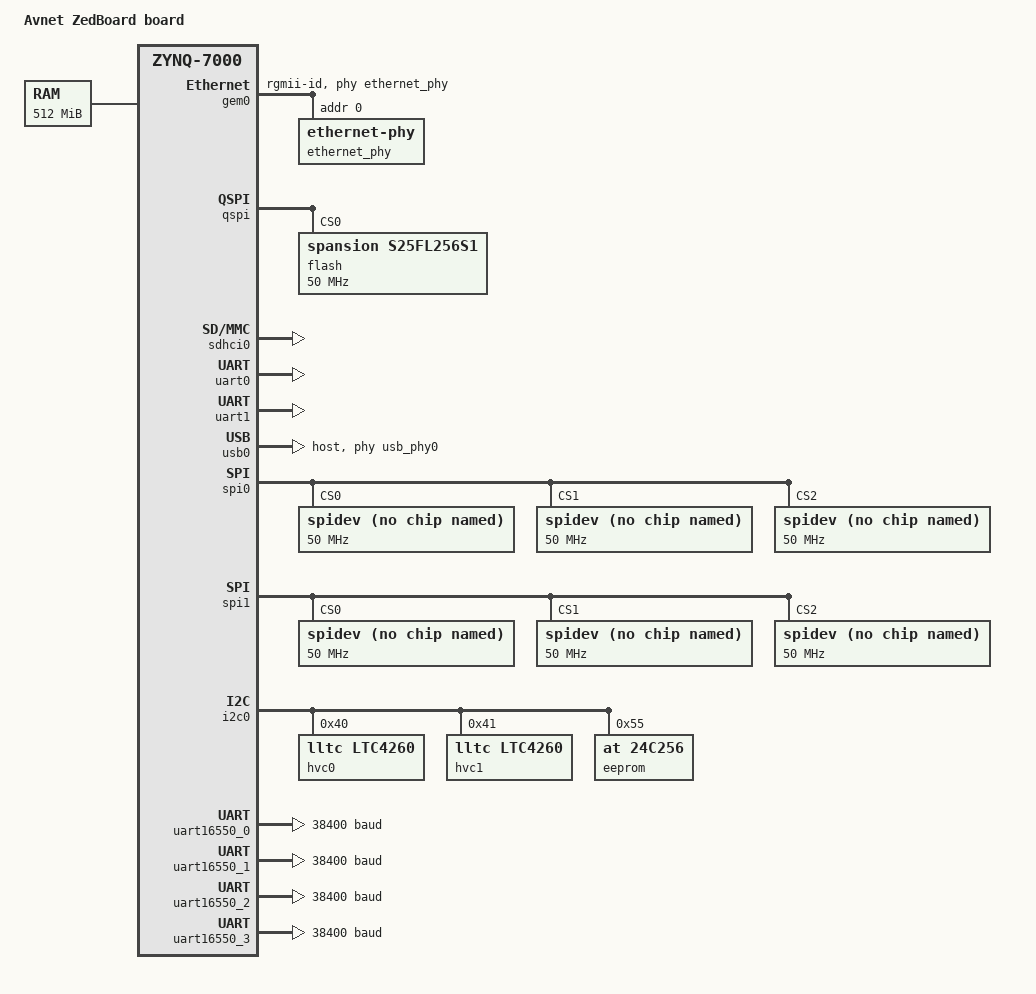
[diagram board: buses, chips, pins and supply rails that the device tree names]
// SPDX-License-Identifier: GPL-2.0+
/*
 *  Copyright (C) 2011 - 2015 Xilinx
 *  Copyright (C) 2012 National Instruments Corp.
 */
/dts-v1/;
#include "zynq-7000.dtsi"

/ {
	model = "Avnet ZedBoard board";
	compatible = "avnet,zynq-zed", "xlnx,zynq-zed", "xlnx,zynq-7000";

	aliases {
		ethernet0 = &gem0;
		i2c0 = &i2c0;
		serial0 = &uart1;
		spi0 = &spi0;
		spi1 = &spi1;
		spi2 = &qspi;
		mmc0 = &sdhci0;
	};

	memory@0 {
		device_type = "memory";
		reg = <0x0 0x20000000>;
	};

	chosen {
		bootargs = "";
		stdout-path = "serial0:115200n8";
	};

	usb_phy0: phy0@e0002000 {
		compatible = "ulpi-phy";
		#phy-cells = <0>;
		reg = <0xe0002000 0x1000>;
		view-port = <0x0170>;
		drv-vbus;
	};
};

&clkc {
	ps-clk-frequency = <33333333>;
};

&gem0 {
	status = "okay";
	phy-mode = "rgmii-id";
	phy-handle = <&ethernet_phy>;

	ethernet_phy: ethernet-phy@0 {
		reg = <0>;
		device_type = "ethernet-phy";
	};
};

&qspi {
	u-boot,dm-pre-reloc;
	status = "okay";
	is-dual = <0>;
	num-cs = <1>;
	flash@0 {
		compatible = "spansion,s25fl256s1", "jedec,spi-nor";
		reg = <0>;
		spi-tx-bus-width = <1>;
		spi-rx-bus-width = <4>;
		spi-max-frequency = <50000000>;
		m25p,fast-read;
		#address-cells = <1>;
		#size-cells = <1>;
/*
		partition@0 {
			label = "qspi-fsbl-uboot";
			reg = <0x0 0x100000>;
		};
		partition@100000 {
			label = "qspi-linux";
			reg = <0x100000 0x500000>;
		};
		partition@600000 {
			label = "qspi-device-tree";
			reg = <0x600000 0x20000>;
		};
		partition@620000 {
			label = "qspi-rootfs";
			reg = <0x620000 0x5E0000>;
		};
		partition@c00000 {
			label = "qspi-bitstream";
			reg = <0xC00000 0x400000>;
		};
*/
	};
};

&sdhci0 {
	u-boot,dm-pre-reloc;
	status = "okay";
};

&uart0 {
	status = "okay";
};

&uart0 {
	status = "okay";
};

&uart1 {
	u-boot,dm-pre-reloc;
	status = "okay";
};

&usb0 {
	status = "okay";
	dr_mode = "host";
	usb-phy = <&usb_phy0>;
};


&spi0 {
	//status = "okay";
	num-cs = <3>;
	spidev@0 {
		compatible = "spidev";
		reg = <0>;
		spi-max-frequency = <50000000>;
		spi-cpha;
		spi-cpol;
	};
	spidev@1 {
		compatible = "spidev";
		reg = <1>;
		spi-max-frequency = <50000000>;
		spi-cpha;
		spi-cpol;
	};
	spidev@2 {
		compatible = "spidev";
		reg = <2>;
		spi-max-frequency = <50000000>;
		spi-cpha;
		spi-cpol;
	};
};

&spi1 {
	status = "okay";
	num-cs = <3>;
	spidev@0 {
		compatible = "spidev";
		reg = <0>;
		spi-max-frequency = <50000000>;
		spi-cpha;
		spi-cpol;
	};
	spidev@1 {
		compatible = "spidev";
		reg = <1>;
		spi-max-frequency = <50000000>;
		spi-cpha;
		spi-cpol;
	};
	spidev@2 {
		compatible = "spidev";
		reg = <2>;
		spi-max-frequency = <50000000>;
		spi-cpha;
		spi-cpol;
	};
};

&i2c0 {
	status = "okay";
	// the following reside on the ESADE/ESAP tester board
	hvc0@40 {
		compatible = "lltc,ltc4260";
		reg = <0x40>;
	};
	hvc1@41 {
		compatible = "lltc,ltc4260";
		reg = <0x41>;
	};
	eeprom@55 {
		compatible = "at,24c256";
		reg = <0x55>;
	};
};

&amba {
	uart16550_0: serial@43c00000 {
		clock-frequency = <100000000>;
		compatible = "ns16550";
/* valid BK Precision 8500 baud rates
		current-speed = <4800>;
		current-speed = <9600>;
		current-speed = <19200>;
		current-speed = <38400>;
*/
		current-speed = <38400>;
		device_type = "serial";
		interrupt-parent = <&intc>;
		interrupts = <0 32 4>;
		reg = <0x43c00000 0x10000>;
		reg-offset = <0x1000>;
		reg-shift = <2>;
	};
	uart16550_1: serial@43c10000 {
		clock-frequency = <100000000>;
		compatible = "ns16550";
		current-speed = <38400>;
		device_type = "serial";
		interrupts = <0 33 4>;
		interrupt-parent = <&intc>;
		reg = <0x43c10000 0x10000>;
		reg-offset = <0x1000>;
		reg-shift = <2>;
	};
	uart16550_2: serial@43c20000 {
		clock-frequency = <100000000>;
		compatible = "ns16550";
		current-speed = <38400>;
		device_type = "serial";
		interrupts = <0 34 4>;
		interrupt-parent = <&intc>;
		reg = <0x43c20000 0x10000>;
		reg-offset = <0x1000>;
		reg-shift = <2>;
	};
	uart16550_3: serial@43c30000 {
		clock-frequency = <100000000>;
		compatible = "ns16550";
		current-speed = <38400>;
		device_type = "serial";
		interrupts = <0 35 4>;
		interrupt-parent = <&intc>;
		reg = <0x43c30000 0x10000>;
		reg-offset = <0x1000>;
		reg-shift = <2>;
	};
};
